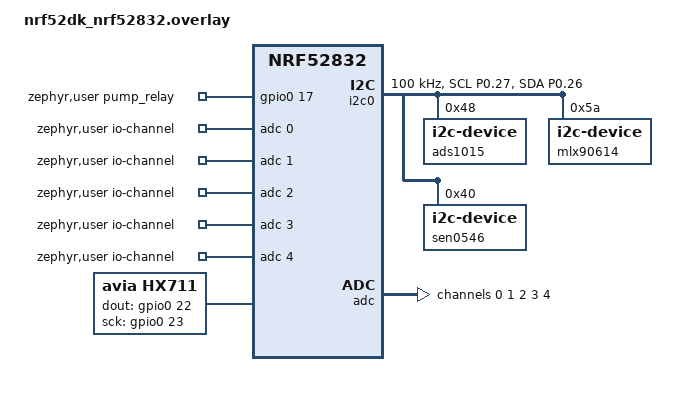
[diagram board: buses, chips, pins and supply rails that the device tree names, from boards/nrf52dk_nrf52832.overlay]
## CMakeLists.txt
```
cmake_minimum_required(VERSION 3.20.0)
set(ZEPHYR_EXTRA_MODULES "${CMAKE_SOURCE_DIR}/modules/HX711")
find_package(Zephyr REQUIRED HINTS $ENV{ZEPHYR_BASE})



project(sensor_node)



target_sources(app PRIVATE
  src/main.c
  src/drv_ads1015.c
  src/drv_mlx90614.c
  src/drv_analog.c
  src/ble_util.c
  src/drv_sen0546.c
  src/drv_load_point.c
)
```

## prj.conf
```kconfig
# Logging
CONFIG_LOG=y
CONFIG_LOG_MODE_IMMEDIATE=y
CONFIG_LOG_DEFAULT_LEVEL=3

# Timers/work
CONFIG_SYSTEM_WORKQUEUE_STACK_SIZE=2048

# Buses and IO
CONFIG_I2C=y
CONFIG_SPI=y
CONFIG_ADC=y
CONFIG_GPIO=y

# Console (RTT or UART ok)
CONFIG_CONSOLE=y
# CONFIG_USE_SEGGER_RTT=y
# CONFIG_RTT_CONSOLE=y
CONFIG_CBPRINTF_COMPLETE=y
CONFIG_CBPRINTF_FP_SUPPORT=y
CONFIG_UART_CONSOLE=y
CONFIG_SERIAL=y

# ---------- Bluetooth (Peripheral) ----------
CONFIG_BT=y
CONFIG_BT_PERIPHERAL=y
CONFIG_BT_OBSERVER=n
CONFIG_BT_CENTRAL=n
# CONFIG_BT_MAX_CONN=1

CONFIG_BT_DEVICE_NAME="LysimeterNode01"
CONFIG_BT_DEVICE_NAME_DYNAMIC=n
CONFIG_BT_RX_STACK_SIZE=2048
# We only act as a GATT server; no client needed
CONFIG_BT_GATT_CLIENT=n

# ATT / GATT settings
CONFIG_BT_ATT_PREPARE_COUNT=0

CONFIG_SENSOR=y
CONFIG_HX711=y


# Floating Point Unit
CONFIG_FPU=y

# Bluetooth LE
CONFIG_BT=y
CONFIG_BT_PERIPHERAL=y
CONFIG_BT_DEVICE_NAME="NodeA"
CONFIG_BT_LBS=y
CONFIG_BT_GATT_CLIENT=y

# STEP 5 - Configure your preferred connection parameters
CONFIG_BT_PERIPHERAL_PREF_MIN_INT=800
CONFIG_BT_PERIPHERAL_PREF_MAX_INT=800
CONFIG_BT_PERIPHERAL_PREF_LATENCY=0
CONFIG_BT_PERIPHERAL_PREF_TIMEOUT=400
CONFIG_BT_GAP_AUTO_UPDATE_CONN_PARAMS=y

# STEP 8.2 - Enable PHY updates.
CONFIG_BT_USER_PHY_UPDATE=y

# STEP 12 - Update Data Length and MTU
CONFIG_BT_USER_DATA_LEN_UPDATE=y
CONFIG_BT_CTLR_DATA_LENGTH_MAX=251
CONFIG_BT_BUF_ACL_RX_SIZE=251
CONFIG_BT_BUF_ACL_TX_SIZE=251
CONFIG_BT_L2CAP_TX_MTU=247

# Increase stack size for the main thread, System Workqueue, BT RX thread and TX buf count
CONFIG_SYSTEM_WORKQUEUE_STACK_SIZE=2048
CONFIG_BT_RX_STACK_SIZE=2048
CONFIG_BT_BUF_CMD_TX_COUNT=2

# CONFIG_SHELL=y
# CONFIG_SHELL_BACKEND_SERIAL=y
# CONFIG_I2C_SHELL=y
# # hx711 driver configuration
# CONFIG_HX711_ENABLE_MEDIAN_FILTER=y
# CONFIG_HX711_MEDIAN_FILTER_WINDOW_SIZE=3
# CONFIG_HX711_ENABLE_EMA_FILTER=y
# CONFIG_HX711_EMA_FILTER_ALPHA_FACTOR=50
```

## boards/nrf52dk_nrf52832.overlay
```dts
/* boards/<your_board>.overlay */


&pinctrl {
	i2c0_default: i2c0_default {
		group1 {
			psels = <NRF_PSEL(TWIM_SCL, 0, 27)>,
				<NRF_PSEL(TWIM_SDA, 0, 26)>;
                bias-pull-up;

		};
	};

	i2c0_sleep: i2c0_sleep {
		group1 {
			psels = <NRF_PSEL(TWIM_SCL, 0, 27)>,
				<NRF_PSEL(TWIM_SDA, 0, 26)>;
			low-power-enable;
		};
	};
};


&i2c0 {
	status = "okay";
    compatible = "nordic,nrf-twim";
	pinctrl-0 = <&i2c0_default>;
	pinctrl-1 = <&i2c0_sleep>;
	pinctrl-names = "default", "sleep";
   

	ads1015: ads1015@48 {
		compatible = "i2c-device";
		status = "okay";
		reg = <0x48>;
	};

	mlx90614: mlx90614@5a {
		compatible = "i2c-device";
		status = "okay";
		reg = <0x5a>;
	};

	sen0546: sen0546@40 {
		compatible = "i2c-device";
		status = "okay";
		reg = <0x40>;
	};
    clock-frequency = <I2C_BITRATE_STANDARD>;
};


 / {
	zephyr,user {
		io-channels = <&adc 0>, <&adc 1>, <&adc 2>, <&adc 3>, <&adc 4>;
		//pump_relay_gpios = <&gpio0 17 GPIO_ACTIVE_LOW>; for pcb
		pump_relay_gpios = <&gpio0 17 GPIO_ACTIVE_HIGH>;
		
	};

	hx711: hx711 {
		compatible = "avia,hx711";
		status = "okay";
		label = "HX711";
		dout-gpios = <&gpio0 22 (GPIO_ACTIVE_HIGH | GPIO_PULL_UP)>;
		sck-gpios  = <&gpio0 23 GPIO_ACTIVE_HIGH>;
	};
};

&adc {
	#address-cells = <1>;
	#size-cells = <0>;
	status = "okay";

	channel@0 {
		// par sensor
		// add shunt resistor
		reg = <0>;
		zephyr,gain = "ADC_GAIN_1_6";
		zephyr,reference = "ADC_REF_INTERNAL";
		zephyr,acquisition-time = <ADC_ACQ_TIME_DEFAULT>;
		zephyr,input-positive = <NRF_SAADC_AIN1>; /* nRF52832: P0.03 */
		zephyr,resolution = <12>;
	};

	channel@1 {
		// wind tmp
		// voltage divider
		// up to 3.3v input with voltage divider
		reg = <1>;
		zephyr,gain = "ADC_GAIN_1_6";
		zephyr,reference = "ADC_REF_INTERNAL";
		zephyr,acquisition-time = <ADC_ACQ_TIME_DEFAULT>;
		zephyr,input-positive = <NRF_SAADC_AIN2>; /* nRF52832: P0.04 */
		zephyr,resolution = <12>;
	};

	// channel@2 {
	// 	// not used for now - OUT pin wind sensor
	// 	reg = <2>;
	// 	zephyr,gain = "ADC_GAIN_1_6";
	// 	zephyr,reference = "ADC_REF_INTERNAL";
	// 	zephyr,acquisition-time = <ADC_ACQ_TIME_DEFAULT>;
	// 	zephyr,input-positive = <NRF_SAADC_AIN4>; /* nRF52832: P0.28 */
	// 	zephyr,resolution = <12>;
	// };

	channel@2 {
		// wind rv
		// voltage divider
		reg = <2>;
		zephyr,gain = "ADC_GAIN_1_6";
		zephyr,reference = "ADC_REF_INTERNAL";
		zephyr,acquisition-time = <ADC_ACQ_TIME_DEFAULT>;
		zephyr,input-positive = <NRF_SAADC_AIN5>; /* nRF52832: P0.29 */
		zephyr,resolution = <12>;
	};

	channel@3 {
		//root temp
		reg = <3>;
		zephyr,gain = "ADC_GAIN_1_6";
		zephyr,reference = "ADC_REF_INTERNAL";
		zephyr,acquisition-time = <ADC_ACQ_TIME_DEFAULT>;
		zephyr,input-positive = <NRF_SAADC_AIN6>; /* nRF52832: P0.30 */
		zephyr,resolution = <12>;
	};

	channel@4 {
		// pyrg-thermistor
		reg = <4>;
		zephyr,gain = "ADC_GAIN_1_6";
		zephyr,reference = "ADC_REF_INTERNAL";
		zephyr,acquisition-time = <ADC_ACQ_TIME_DEFAULT>;
		zephyr,input-positive = <NRF_SAADC_AIN7>; /* nRF52832: P0.31 */
		zephyr,resolution = <12>;
	};
};
&pwm0_default {
	group1 {
		psels = <NRF_PSEL(PWM_OUT0, 0, 17)>;
		nordic,invert;
	};
};
```

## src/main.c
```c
#include <zephyr/kernel.h>
#include <zephyr/logging/log.h>
#include <zephyr/drivers/gpio.h>
#include <zephyr/drivers/i2c.h>

#include "drv_mlx90614.h"
#include "drv_analog.h"
#include "ble_util.h"
#include "drv_sen0546.h"
#include "drv_ads1015.h"
#include "drv_load_point.h"
#include <math.h>


LOG_MODULE_REGISTER(main_local, LOG_LEVEL_INF);


static struct mlx90614_sample g_mlx;
static struct sen0546_sample g_sen;
static struct pyrgeometer_ADS_sample g_pyrgeo;
static struct pyranometer_ADS_sample g_pyrano;
static struct soil_sample    g_soil;
static struct wind_sample    g_wind;
static struct par_sample   g_par;
static struct load_sample g_load;

static const char NODE_NAME[NODE_NAME_LENGTH] = "nodeA";


static const struct device *const i2c0 = DEVICE_DT_GET(DT_NODELABEL(i2c0));

// i2c detection debug function
static int i2c_scan_log(const struct device *i2c)
{
    if (!device_is_ready(i2c)) {
        LOG_INF("I2C device not ready");
        return -ENODEV;
    }

    int found = 0;

    for (uint8_t addr = 0x03; addr <= 0x77; addr++) {
        /* probe: 0-byte write */
        int err = i2c_write(i2c, NULL, 0, addr);
        if (err == 0) {
            LOG_INF("I2C ACK at 0x%02X", addr);
            found++;
        }
        k_sleep(K_MSEC(2));
    }

    LOG_INF("I2C scan done, found %d device(s)", found);
    return found;
}

// BLE FUNCTIONS/HELPERS
#define S16_INVALID ((int16_t)INT16_MIN)

static inline int16_t s16_q(float x, float scale)
{
    if (!isfinite(x)){
        return S16_INVALID;
    }

    float v = x * scale;
    if (v >  32767.0f) v =  32767.0f;
    if (v < -32768.0f) v = -32768.0f;
    return (int16_t)(v >= 0 ? (v + 0.5f) : (v - 0.5f));
}


static inline void fill_node_name(char out[NODE_NAME_LENGTH])
{
    memset(out, 0, NODE_NAME_LENGTH);
    memcpy(out, NODE_NAME, strnlen(NODE_NAME, NODE_NAME_LENGTH));
}

// Build BLE Payload
static void build_payload(struct sensor_payload_v1 *pl)
{
    memset(pl, 0, sizeof(*pl));

    // HEADER GENERAL INFO
    uint32_t epoch_s = 0;
    uint16_t epoch_ms = 0;
    time_now_epoch(&epoch_s, &epoch_ms);

    pl->ver = 1; // payload version is 1 incase we change it down the line - for parsing
    pl->uptime_ms= (uint32_t)k_uptime_get();
    pl->epoch_s = epoch_s;
    pl->epoch_ms = epoch_ms;
    fill_node_name(pl->node_name);

    // data
    pl->mlx_obj_c = s16_q(g_mlx.obj_c, 100.0f);
    pl->mlx_amb_c = s16_q(g_mlx.amb_c, 100.0f);

    pl->sen_temp_c = s16_q(g_sen.temp_c, 100.0f);
    pl->sen_rh     = s16_q(g_sen.rh, 100.0f);

    //pl->soil_v      = g_soil.voltage;
    //pl->soil_r_ohm  = g_soil.resistance;
    pl->soil_temp_c = s16_q(g_soil.temp_c, 100.0f);

    //pl->wind_v      = g_wind.voltage;
    //pl->wind_temp_c = s16_q(g_wind.temp_in_c, 100.0f);
    pl->wind_mph    = s16_q(g_wind.mph, 100.0f);

    //pl->par_shunt_v   = g_par.voltage;
   // pl->par_current_mA= g_par.current_mA;
    pl->par_ppfd      = (int32_t)lroundf(g_par.ppfd * 100.0f);

    pl->shortwave_w_m2 = s16_q(g_pyrano.shortwave_radiation, 100.0f);

    //pl->thermopile_mv_diff = g_pyrgeo.thermopile_signal_mv_diff;
    pl->pyr_temp_k         = s16_q(g_pyrgeo.temperature_in_K, 100.0f);
    pl->longwave_w_m2      = s16_q(g_pyrgeo.longwave_radiation, 100.0f);

  
    pl->weight_integer    = g_load.integer;
    pl-> weight_fractional = g_load.fractional;
    
}

// BLE Code was pulled from Nordic Academy Example
struct bt_conn *my_conn = NULL;
static struct k_work adv_work;

static const struct bt_le_adv_param *adv_param = BT_LE_ADV_PARAM(
    (BT_LE_ADV_OPT_CONN |
     BT_LE_ADV_OPT_USE_IDENTITY),
    BT_GAP_ADV_FAST_INT_MIN_1,
    BT_GAP_ADV_FAST_INT_MAX_1,
    NULL);


/* STEP 11.2 - Create variable that holds callback for MTU negotiation */
static struct bt_gatt_exchange_params exchange_params;

/* STEP 13.4 - Forward declaration of exchange_func(): */
static void exchange_func(struct bt_conn *conn, uint8_t att_err, struct bt_gatt_exchange_params *params);

#define DEVICE_NAME CONFIG_BT_DEVICE_NAME
#define DEVICE_NAME_LEN (sizeof(DEVICE_NAME) - 1)

static const struct bt_data ad[] = {
    BT_DATA_BYTES(BT_DATA_FLAGS, (BT_LE_AD_GENERAL | BT_LE_AD_NO_BREDR)),
    BT_DATA_BYTES(BT_DATA_UUID128_ALL, BT_UUID_LYS_SERVICE_VAL),
};

static const struct bt_data sd[] = {
    BT_DATA(BT_DATA_NAME_COMPLETE, CONFIG_BT_DEVICE_NAME,
            sizeof(CONFIG_BT_DEVICE_NAME) - 1),
};


static void adv_work_handler(struct k_work *work)
{
    int err = bt_le_adv_start(adv_param, ad, ARRAY_SIZE(ad), sd, ARRAY_SIZE(sd));

    if (err) {
        LOG_ERR("Advertising failed to start (err %d)", err);
        return;
    }

    LOG_INF("Advertising successfully started");
}

static void advertising_start(void)
{
    k_work_submit(&adv_work);
}

/* STEP 7.1 - Define the function to update the connection's PHY */
static void update_phy(struct bt_conn *conn)
{
    int err;
    const struct bt_conn_le_phy_param preferred_phy = {
        .options = BT_CONN_LE_PHY_OPT_NONE,
        .pref_rx_phy = BT_GAP_LE_PHY_2M,
        .pref_tx_phy = BT_GAP_LE_PHY_2M,
    };
    err = bt_conn_le_phy_update(conn, &preferred_phy);
    if (err) {
        LOG_ERR("bt_conn_le_phy_update() returned %d", err);
    }
}

/* STEP 10 - Define the function to update the connection's data length */
static void update_data_length(struct bt_conn *conn)
{
    int err;
    struct bt_conn_le_data_len_param my_data_len = {
        .tx_max_len = BT_GAP_DATA_LEN_MAX,
        .tx_max_time = BT_GAP_DATA_TIME_MAX,
    };
    err = bt_conn_le_data_len_update(my_conn, &my_data_len);
    if (err) {
        LOG_ERR("data_len_update failed (err %d)", err);
    }
}

/* STEP 11.1 - Define the function to update the connection's MTU */
static void update_mtu(struct bt_conn *conn)
{
    int err;
    exchange_params.func = exchange_func;

    err = bt_gatt_exchange_mtu(conn, &exchange_params);
    if (err) {
        LOG_ERR("bt_gatt_exchange_mtu failed (err %d)", err);
    }
}

K_THREAD_STACK_DEFINE(sensor_wq_stack, 4096);
static struct k_work_q sensor_wq;

static struct k_work_delayable sensor_work;
static struct k_work sensor_start_work;
static struct k_work sensor_stop_work;

static void sensor_start_handler(struct k_work *work)
{
    ARG_UNUSED(work);
    LOG_INF("Sensor loop START");
    k_work_schedule_for_queue(&sensor_wq, &sensor_work, K_NO_WAIT);
}

static void sensor_stop_handler(struct k_work *work)
{
    ARG_UNUSED(work);
    LOG_INF("Sensor loop STOP");
    k_work_cancel_delayable(&sensor_work);
}

// get coefficient from certificates
// taken from SL-610-SS-1437 device
// different for each sensor

#define K1 8.658f // w/m2 per mV
#define K2 1.210f // unitless

#define STEPHAN_CONSTANT 5.6704e-8f

static struct sensor_payload_v1 pl;

// Print Debug statement For Sensor Outputs 
static void debug_sensors(void)
{
    LOG_INF("MLX90614: obj=%.2f C, amb=%.2f C",
            (double)g_mlx.obj_c,
        (double)g_mlx.amb_c);

    LOG_INF("SEN0546: T=%.2f C, RH=%.2f%%",
            (double)g_sen.temp_c,
            (double)g_sen.rh);

    LOG_INF("Soil: V=%.3f V, R=%.0f ohm, T=%.2f C",
        (double)g_soil.voltage,
        (double)g_soil.resistance,
        (double)g_soil.temp_c);

    LOG_INF("Wind: V=%.3f V (RV), Temp (C)=%.2f, MPH=%.2f",
        (double)g_wind.voltage,
        (double)g_wind.temp_in_c,
        (double)g_wind.mph);
    
    LOG_INF("PAR: V=%.3f V (shunt), I=%.2f mA, PPFD=%.2f µmol m^-2 s^-1",
            (double)g_par.voltage,  (double)g_par.current_mA,  (double)g_par.ppfd);

    LOG_INF("ADS1O15 CH0&1->SP-610: SW=%.6f W/m^2",
            (double)g_pyrano.shortwave_radiation);

    LOG_INF("SL-160 PYR: Temp in K=%.2f", (double)g_pyrgeo.temperature_in_K);

    LOG_INF("ADS1O15 CH2&3->SL-610 Thermopile Signal: %.6f mV",
            (double)g_pyrgeo.thermopile_signal_mv_diff);

    LOG_INF("SL-160 PYR: Longwave radiation W/m2=%.2f", (double)g_pyrgeo.longwave_radiation);

    LOG_INF("Weight: %d.%02d grams",g_load.integer, g_load.fractional);

}

/* Main periodic work: read sensors and send BLE packet */
static void sensor_work_handler(struct k_work *work)
{
    ARG_UNUSED(work);
    int err;

    if (tx_subscribed()) {

        //Read MLX90614 (IR temp) 
        err = mlx90614_read(&g_mlx);
        if (err && err != -EAGAIN) {
            LOG_WRN("MLX90614 read err %d", err);
        }
       
        // Read SEN0546 TEMP/HUMIDITY 
        err = sen0546_read(&g_sen);
        if (err && err != -EAGAIN) {
            LOG_WRN("SEN0546 read err %d", err);
        }

        //Read soil thermistor (root temp)
        err = soil_read(&g_soil);
        if (err && err != -EAGAIN) {
            LOG_WRN("Soil read err %d", err);
        }

        //Read wind sensor - TEMP A BIT OFF BUT MPH GOOD NEED 2x VOLTAGE DIVIDER
        err = wind_read(&g_wind);
        if (err && err != -EAGAIN) {
            LOG_WRN("Wind read err %d", err);
        }

        //  Read PAR (SQ-214) - SHUNT RESISTOR + POWER 7V
        err = par_read(&g_par);
        if (err && err != -EAGAIN) {
            LOG_WRN("PAR read err %d", err);
        }
        
        // ADS1015 MEASUREMENTS
        //GET SP-610 DATA (SHORTWAVE RADIATION)
        get_sp610_pyranometer(&g_pyrano);
        

        // sl-610 THERMISTOR READING - RATIOMETRIC MEASUREMENT WITH EXCITATION
        err = sl160_thermistor_read(&g_pyrgeo);
        if (err && err != -EAGAIN) {
            LOG_WRN("SL-610 read err %d", err);
        }

        // GET SL-610 THERMOPILE DATA 
        get_sl610_thermopile(&g_pyrgeo);
        

        float calculate_longwave = K1 * g_pyrgeo.thermopile_signal_mv_diff + (K2 *  STEPHAN_CONSTANT * (float)pow(g_pyrgeo.temperature_in_K, 4));
        if isfinite(calculate_longwave)
        {
             g_pyrgeo.longwave_radiation = calculate_longwave;
        } else {
            g_pyrgeo.longwave_radiation = NAN;
        }

        // Get data from load point
        measure(&g_load);

        // print sensor values for debug
        debug_sensors();
       
        // if subscribed send with ble
        // map payload
        build_payload(&pl);

        // send ble notification
        lys_ble_notify(my_conn, &pl);
    }

   //reschedule
    k_work_schedule(&sensor_work, K_SECONDS(get_node_period()));
}




static void sensor_wq_init(void)
{
    k_work_queue_start(&sensor_wq,
                       sensor_wq_stack,
                       K_THREAD_STACK_SIZEOF(sensor_wq_stack),
                       2,
                       NULL);

    k_work_init_delayable(&sensor_work, sensor_work_handler);
    k_work_init(&sensor_start_work, sensor_start_handler);
    k_work_init(&sensor_stop_work, sensor_stop_handler);
}



/* Callbacks */
void on_connected(struct bt_conn *conn, uint8_t err)
{
	if (err) {
		LOG_ERR("Connection error %d", err);
		return;
	}
	LOG_INF("Connected");
	my_conn = bt_conn_ref(conn);
    k_sleep(K_MSEC(100));

	/* STEP 1.1 - Declare a structure to store the connection parameters */
	struct bt_conn_info info;
	err = bt_conn_get_info(conn, &info);
	if (err) {
		LOG_ERR("bt_conn_get_info() returned %d", err);
		return;
	}
	/* STEP 1.2 - Add the connection parameters to your log */
	double connection_interval = BT_GAP_US_TO_CONN_INTERVAL(info.le.interval_us) *1.25; // in ms
	uint16_t supervision_timeout = info.le.timeout*10; // in ms
	LOG_INF("Connection parameters: interval %.2f ms, latency %d intervals, timeout %d ms", connection_interval, info.le.latency, supervision_timeout);
	/* STEP 7.2 - Update the PHY mode */
	update_phy(my_conn);
	/* STEP 13.5 - Update the data length and MTU */
	update_data_length(my_conn);
	update_mtu(my_conn);

    // start collecting data
    k_work_submit_to_queue(&sensor_wq, &sensor_start_work);
}

void on_disconnected(struct bt_conn *conn, uint8_t reason)
{
    k_work_cancel_delayable(&sensor_work);
    LOG_INF("Disconnected. Reason %d", reason);
    bt_conn_unref(my_conn);
    my_conn = NULL;

    //stop collecting data
    k_work_submit_to_queue(&sensor_wq, &sensor_stop_work);
}

void on_recycled(void)
{
    advertising_start();
}

/* STEP 4.2 - Add the callback for connection parameter updates */
void on_le_param_updated(struct bt_conn *conn, uint16_t interval, uint16_t latency, uint16_t timeout)
{
    double connection_interval = interval*1.25;         // in ms
    uint16_t supervision_timeout = timeout*10;          // in ms
    LOG_INF("Connection parameters updated: interval %.2f ms, latency %d intervals, timeout %d ms", connection_interval, latency, supervision_timeout);
}
/* STEP 8.1 - Write a callback function to inform about updates in the PHY */
void on_le_phy_updated(struct bt_conn *conn, struct bt_conn_le_phy_info *param)
{
    // PHY Updated
    if (param->tx_phy == BT_CONN_LE_TX_POWER_PHY_1M) {
        LOG_INF("PHY updated. New PHY: 1M");
    }
    else if (param->tx_phy == BT_CONN_LE_TX_POWER_PHY_2M) {
        LOG_INF("PHY updated. New PHY: 2M");
    }
    else if (param->tx_phy == BT_CONN_LE_TX_POWER_PHY_CODED_S8) {
        LOG_INF("PHY updated. New PHY: Long Range");
    }
}

/* STEP 13.1 - Write a callback function to inform about updates in data length */
void on_le_data_len_updated(struct bt_conn *conn, struct bt_conn_le_data_len_info *info)
{
    uint16_t tx_len     = info->tx_max_len;
    uint16_t tx_time    = info->tx_max_time;
    uint16_t rx_len     = info->rx_max_len;
    uint16_t rx_time    = info->rx_max_time;
    LOG_INF("Data length updated. Length %d/%d bytes, time %d/%d us", tx_len, rx_len, tx_time, rx_time);
}

struct bt_conn_cb connection_callbacks = {
    .connected          = on_connected,
    .disconnected       = on_disconnected,
    .recycled           = on_recycled,
    /* STEP 4.1 - Add the callback for connection parameter updates */
    .le_param_updated   = on_le_param_updated,
    /* STEP 8.3 - Add the callback for PHY mode updates */
    .le_phy_updated     = on_le_phy_updated,
    /* STEP 13.2 - Add the callback for data length updates */
    .le_data_len_updated    = on_le_data_len_updated,
};

/* STEP 13.3 - Implement callback function for MTU exchange */
static void exchange_func(struct bt_conn *conn, uint8_t att_err,
              struct bt_gatt_exchange_params *params)
{
    LOG_INF("MTU exchange %s", att_err == 0 ? "successful" : "failed");
    if (!att_err) {
        uint16_t payload_mtu = bt_gatt_get_mtu(conn) - 3;   // 3 bytes used for Attribute headers.
        LOG_INF("New MTU: %d bytes", payload_mtu);
    }
}


int main(void)

{
    LOG_INF("Sensor node starting (with BLE)");

    /* Init sensors */
    int err;

    sensor_wq_init();

    // initialize sensors

    err = sen0546_init();
    if (err) {
        LOG_ERR("SEN0566 init failed (%d)", err);
    }

    err = mlx90614_init();
    if (err) {
        LOG_ERR("MLX90614 init failed (%d)", err);
    }

    err = ADS1015_init();
    if (err) {
        LOG_ERR("ADS1015 init failed (%d)", err);
    }

    err = analog_init();
    if (err) {
        LOG_ERR("Analog init failed (%d)", err);
    }

    // initialize load point (scale)
    err = hx711_probe_init();
    if (err) {
        LOG_ERR("HX711 Load point init failed (%d)", err);
    }

    // initialize relay gpio
    pump_init();
    pump_schedule_init();
    calibrate();

    //init ble
    err = bt_enable(NULL);
    if (err) {
        LOG_ERR("Bluetooth init failed (err %d)", err);
        return err;
    }

    bt_conn_cb_register(&connection_callbacks);

    LOG_INF("Bluetooth initialized\n");
	k_work_init(&adv_work, adv_work_handler);
	advertising_start();

    while (1) {
        k_sleep(K_SECONDS(1));
    }
}
```

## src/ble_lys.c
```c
#include "ble_lys.h"

#include <zephyr/kernel.h>
#include <zephyr/logging/log.h>
#include <zephyr/bluetooth/bluetooth.h>
#include <zephyr/bluetooth/gap.h>
#include <zephyr/bluetooth/uuid.h>
#include <zephyr/bluetooth/conn.h>
#include <zephyr/bluetooth/uuid.h>
#include <zephyr/bluetooth/gatt.h>

LOG_MODULE_REGISTER(ble_lys, LOG_LEVEL_INF);
static bool notify_enabled;
/* UUID objects */
struct bt_uuid_128 bt_uuid_lys_service = BT_UUID_INIT_128(BT_UUID_LYS_SERVICE_VAL);
struct bt_uuid_128 bt_uuid_lys_char    = BT_UUID_INIT_128(BT_UUID_LYS_CHAR_VAL);


/* Current payload value stored in the GATT database */
static struct sensor_payload_v1 g_cur_payload;

// static ssize_t lys_read(struct bt_conn *conn,
//                         const struct bt_gatt_attr *attr,
//                         void *buf, uint16_t len, uint16_t offset)
// {
//     const struct lys_payload *p = attr->user_data;
//     return bt_gatt_attr_read(conn, attr, buf, len, offset, p, sizeof(*p));
// }

/* CCC (Client Characteristic Configuration) descriptor */
static void ccc_cfg_changed(const struct bt_gatt_attr *attr, uint16_t value)
{
    ARG_UNUSED(attr);
    notify_enabled = (value == BT_GATT_CCC_NOTIFY);
    if (value == BT_GATT_CCC_NOTIFY) {
        LOG_INF("Lysimeter notifications enabled");
    } else {
        LOG_INF("Lysimeter notifications disabled");
    }
}

//tx_subscribed()
bool tx_subscribed(void)
{
    return notify_enabled;
}

/* GATT service definition */
BT_GATT_SERVICE_DEFINE(lys_svc,
    BT_GATT_PRIMARY_SERVICE(&bt_uuid_lys_service),
    BT_GATT_CHARACTERISTIC(&bt_uuid_lys_char.uuid,
                           BT_GATT_CHRC_READ | BT_GATT_CHRC_NOTIFY,
                           BT_GATT_PERM_READ,
                           NULL, NULL, &g_cur_payload),
    BT_GATT_CCC(ccc_cfg_changed,
                BT_GATT_PERM_READ | BT_GATT_PERM_WRITE)
);

/* Connection callbacks */

int lys_ble_notify(struct bt_conn *g_conn, const struct sensor_payload_v1 *p)
{
    int err;

    g_cur_payload = *p;

    err = bt_gatt_notify(g_conn, &lys_svc.attrs[2],
                         &g_cur_payload, sizeof(g_cur_payload));
    if (err == -ENOTCONN || err == -EPIPE) {
        return 0;
    }

    if (err) {
        LOG_WRN("Notify failed (err %d)", err);
    }

    return err;
}
```

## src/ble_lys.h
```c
#pragma once

#include <zephyr/types.h>
#include <zephyr/bluetooth/bluetooth.h>
#include <zephyr/bluetooth/gap.h>
#include <zephyr/bluetooth/gatt.h>
#include <zephyr/bluetooth/uuid.h>
#include <zephyr/bluetooth/addr.h>
#include <zephyr/bluetooth/conn.h>
/* 128-bit UUIDs for the custom Lysimeter service and characteristic */
#define BT_UUID_LYS_SERVICE_VAL \
    BT_UUID_128_ENCODE(0x8f3a6c21, 0x4b72, 0x4fd1, 0x9e38, 0x3c2b7d9a51f4)

#define BT_UUID_LYS_CHAR_VAL \
    BT_UUID_128_ENCODE(0x8f3a6c22, 0x4b72, 0x4fd1, 0x9e38, 0x3c2b7d9a51f4)
    
/* Forward declarations of UUID objects */
extern struct bt_uuid_128 bt_uuid_lys_service;
extern struct bt_uuid_128 bt_uuid_lys_char;


struct __attribute__((packed)) sensor_payload_v1 {

    /* MLX90614 */
    int16_t mlx_obj_c;
    int16_t mlx_amb_c;

    /* SEN0546 */
    int16_t sen_temp_c;
    int16_t sen_rh;

    /* Soil */
    int16_t soil_temp_c;

     /* Wind */
    int16_t wind_mph;

    /* PAR */
    int32_t par_ppfd;

    /* SP-610 pyranometer */
    int16_t shortwave_w_m2;

    /* SL-610/160 pyrgeometer */
    int16_t pyr_temp_k;
    int16_t longwave_w_m2;

    // hx711
    int32_t weight_integer;
    int32_t weight_fractional;

};

bool tx_subscribed(void);
/* Update the GATT value and send notification (if connected) */
int lys_ble_notify(struct bt_conn *g_conn, const struct sensor_payload_v1 *p);
```

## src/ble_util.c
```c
#include "ble_util.h"
#include <zephyr/kernel.h>
#include <zephyr/logging/log.h>
#include <zephyr/bluetooth/bluetooth.h>
#include <zephyr/bluetooth/gap.h>
#include <zephyr/bluetooth/uuid.h>
#include <zephyr/bluetooth/conn.h>
#include <zephyr/bluetooth/uuid.h>
#include <zephyr/bluetooth/gatt.h>
#include <zephyr/drivers/gpio.h>
#include <zephyr/sys/byteorder.h>

// ble_uti.c - handles bluetooth + time logic + pump scheduling 
LOG_MODULE_REGISTER(ble_lys, LOG_LEVEL_INF);

// BLE notification flag
// true when the pi subscribes to notifications
static bool notify_enabled;

// Set to true after valid time is received from the pi
static bool time_synced = false;

// Next scheduled pump time, sent by the  pi as Unix epoch seconds
static uint32_t next_pump_epoch_s;

// Delayed work items used to turn the pump ON/OFF at scheduled times
static struct k_work_delayable pump_on_work;
static struct k_work_delayable pump_off_work;

// Pump ON duration and node sampling period - both sent by the Raspberry Pi.
static uint16_t pump_duration_s;
static uint16_t node_period_s;

// BLE UUIDs
struct bt_uuid_128 bt_uuid_lys_service = BT_UUID_INIT_128(BT_UUID_LYS_SERVICE_VAL);
struct bt_uuid_128 bt_uuid_lys_char    = BT_UUID_INIT_128(BT_UUID_LYS_CHAR_VAL);
struct bt_uuid_128 bt_uuid_lys_time   = BT_UUID_INIT_128(BT_UUID_TIME_SYNC); 

// Current sensor payload stored before notification
static struct sensor_payload_v1 g_cur_payload;

// Stores synchronized Pi time + nRF52 uptime
static struct time_values g_time;

// Called when the Raspberry Pi enables or disables BLE notifications.
static void ccc_cfg_changed(const struct bt_gatt_attr *attr, uint16_t value)
{
    ARG_UNUSED(attr);
    notify_enabled = (value == BT_GATT_CCC_NOTIFY);
    if (value == BT_GATT_CCC_NOTIFY) {
        LOG_INF("Lysimeter notifications enabled");
    } else {
        LOG_INF("Lysimeter notifications disabled");
    }
}

//Helper function used by other code to check if BLE notifications are enabled.
bool tx_subscribed(void)
{
    return notify_enabled;
}

// Save the Raspberry Pi's current Unix time.
// After this the nRF52 can estimate current epoch time using its uptime.
void time_sync_from_pi(uint32_t epoch_s, uint16_t epoch_ms)
{
    // store pi epoch time in milliseconds
    g_time.epoch0_ms  = (int64_t)epoch_s * 1000 + (int64_t)epoch_ms;
    
    // store local uptime 
    g_time.uptime0_ms = (int64_t)k_uptime_get();
    time_synced = true;
}

// Estimate current Unix time using last pi time sync plus nRF52 uptime.
bool time_now_epoch(uint32_t *out_epoch_s, uint16_t *out_epoch_ms)
{
    // only works after Pi time sync has happened
    if (!time_synced) {
        return false;
    }

    int64_t now_ms = g_time.epoch0_ms + ((int64_t)k_uptime_get() - g_time.uptime0_ms);
    if (now_ms < 0) return false;

    *out_epoch_s  = (uint32_t)(now_ms / 1000);
    *out_epoch_ms = (uint16_t)(now_ms % 1000);
    return true;
}

// schedule the pump to turn ON 
static void pump_set_next_epoch(uint32_t epoch_s)
{
    next_pump_epoch_s = epoch_s;

    uint32_t now_s; 
    uint16_t now_ms;

    if (!time_now_epoch(&now_s, &now_ms)) {
        LOG_WRN("No valid time yet; cannot arm pump");
        return;
    }

    int64_t delay_ms = ((int64_t)next_pump_epoch_s - (int64_t)now_s) * 1000 - now_ms;
    if (delay_ms < 0) delay_ms = 0;

    k_work_schedule(&pump_on_work, K_MSEC(delay_ms));
    LOG_INF("Pump armed for epoch=%u (in %lld ms)", epoch_s, delay_ms);
}


// Pi writes a 14-byte payload:
// bytes 0-3   = current epoch seconds
// bytes 4-5   = current epoch milliseconds
// bytes 6-9   = next pump start epoch seconds
// bytes 10-11 = pump duration in seconds
// bytes 12-13 = node sampling period in seconds

static ssize_t time_sync_write(struct bt_conn *conn,
                               const struct bt_gatt_attr *attr,
                               const void *buf, uint16_t len,
                               uint16_t offset, uint8_t flags)
{

    ARG_UNUSED(conn);
    ARG_UNUSED(attr);
    ARG_UNUSED(flags);

    //payload must be 14 bytes
    if (len != 14) {
        return BT_GATT_ERR(BT_ATT_ERR_INVALID_ATTRIBUTE_LEN);
    }

    // get pi payload
    const uint8_t *b = buf;
    uint32_t epoch_s     = sys_get_le32(&b[0]);
    uint16_t epoch_ms    = sys_get_le16(&b[4]);
    uint32_t next_pump_s = sys_get_le32(&b[6]);
    uint16_t duration_s  = sys_get_le16(&b[10]);
    uint16_t period_s    = sys_get_le16(&b[12]);

    next_pump_epoch_s = next_pump_s;
    pump_duration_s   = duration_s;
    node_period_s     = period_s;

    LOG_INF("Time sync received");
    LOG_INF("epoch_s=%u, epoch_ms=%u, next_pump=%u, duration=%u, period=%u",
        epoch_s,
        epoch_ms,
        next_pump_epoch_s,
        pump_duration_s,
        node_period_s);

    // save time from pi
    time_sync_from_pi(epoch_s, epoch_ms);

    // schedule next pump run
    pump_set_next_epoch(next_pump_epoch_s);

    return len;
}

//  Helper Function - Return node sampling period - sent by the pi during time sync
uint16_t get_node_period(void){
    return node_period_s;
}

//  INTIALIZE PUMP CTRL PIN
static const struct gpio_dt_spec pump =GPIO_DT_SPEC_GET(DT_PATH(zephyr_user), pump_relay_gpios);


void pump_init(void)
{
    int err;

    if (!gpio_is_ready_dt(&pump)) {
        LOG_ERR("Pump GPIO is not ready");
        return -ENODEV;
    }

    // configure pump relay as output and start OFF
    err = gpio_pin_configure_dt(&pump, GPIO_OUTPUT_INACTIVE);
    if (err) {
        LOG_ERR("Failed to configure pump GPIO: %d", err);
        return err;
    }

    LOG_INF("Pump GPIO initialized");

    return 0;
}

static void pump_on(void)  { 
    gpio_pin_set_dt(&pump, 1); 
    LOG_INF("PUMP ON");
}

static void pump_off(void) { 
    gpio_pin_set_dt(&pump, 0);
    LOG_INF("PUMP OFF"); 
}


static void pump_off_fn(struct k_work *work)
{
    pump_off();
}

// turns on pump and off and reschedules 
static void pump_on_fn(struct k_work *work)
{
    pump_on();
    // turn pump off after set duration
    k_work_schedule(&pump_off_work, K_SECONDS(pump_duration_s));
     
    // Schedule next pump in 24 hours
    next_pump_epoch_s += 86400; // sec in 24 hours 
    // next_pump_epoch_s += 60; // for debug every minute
    // add to payload; so user can set this from global hub

    uint32_t now_s; 
    uint16_t now_ms;

    if (time_now_epoch(&now_s, &now_ms)) {
        int64_t delay_ms = ((int64_t)next_pump_epoch_s - (int64_t)now_s) * 1000 - now_ms;
        if (delay_ms < 0) delay_ms = 0;
        k_work_schedule(&pump_on_work, K_MSEC(delay_ms));
        LOG_INF("Next pump scheduled for epoch=%u, in %lld ms",
                next_pump_epoch_s,
                delay_ms);
    } else {
        LOG_WRN("Time not synced; cannot reschedule next pump");
    }
}

// initialize delayed work objects for pump scheduling
void pump_schedule_init(void)
{
     k_work_init_delayable(&pump_on_work, pump_on_fn);
    k_work_init_delayable(&pump_off_work, pump_off_fn);
}

/*
 * GATT service definition.
 *
 * Includes:
 * 1. Sensor payload characteristic:
 *    - NOTIFY: Node can notify Pi with new payload
 *
 * 2. Time sync characteristic:
 *    - WRITE: Pi sends time and pump scheduling information
 */

BT_GATT_SERVICE_DEFINE(lys_svc,
    BT_GATT_PRIMARY_SERVICE(&bt_uuid_lys_service),


    // notify characteristic for sensor payload
    BT_GATT_CHARACTERISTIC(&bt_uuid_lys_char.uuid,
                           BT_GATT_CHRC_READ | BT_GATT_CHRC_NOTIFY,
                           BT_GATT_PERM_READ,
                           NULL, NULL, &g_cur_payload),

    BT_GATT_CCC(ccc_cfg_changed,
                BT_GATT_PERM_READ | BT_GATT_PERM_WRITE),
    
    BT_GATT_CUD("Sensor Payload from Node", BT_GATT_PERM_READ),

    // characteristic for pi writing time to nordic for time sync
    BT_GATT_CHARACTERISTIC(&bt_uuid_lys_time.uuid,
        BT_GATT_CHRC_WRITE | BT_GATT_CHRC_WRITE_WITHOUT_RESP,
        BT_GATT_PERM_WRITE,
        NULL,               
        time_sync_write,     
        NULL),

    BT_GATT_CUD("Time Sync", BT_GATT_PERM_READ),

  
);

// Send current sensor payload using BLE notification
int lys_ble_notify(struct bt_conn *g_conn, const struct sensor_payload_v1 *p)
{
    int err;

    if (!g_conn) {
        return -ENOTCONN;
    }

     // Do not send notification if Pi has not subscribed
    if (!notify_enabled) {
        return 0;
    }

    g_cur_payload = *p;

    err = bt_gatt_notify(g_conn, 
                        &lys_svc.attrs[2],
                        &g_cur_payload, 
                        sizeof(g_cur_payload));
                    

    if (err == -ENOTCONN || err == -EPIPE) {
        return 0;
    }

    if (err) {
        LOG_WRN("Notify failed (err %d)", err);
    }

    return err;
}
```

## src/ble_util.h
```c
#pragma once

#include <zephyr/types.h>
#include <zephyr/bluetooth/bluetooth.h>
#include <zephyr/bluetooth/gap.h>
#include <zephyr/bluetooth/gatt.h>
#include <zephyr/bluetooth/uuid.h>
#include <zephyr/bluetooth/addr.h>
#include <zephyr/bluetooth/conn.h>

#define NODE_NAME_LENGTH 8
#define BT_UUID_LYS_SERVICE_VAL \
    BT_UUID_128_ENCODE(0x8f3a6c21, 0x4b72, 0x4fd1, 0x9e38, 0x3c2b7d9a51f4)

#define BT_UUID_LYS_CHAR_VAL \
    BT_UUID_128_ENCODE(0x8f3a6c22, 0x4b72, 0x4fd1, 0x9e38, 0x3c2b7d9a51f4)

#define BT_UUID_TIME_SYNC \
    BT_UUID_128_ENCODE(0x12345679,0x1234,0x1234,0x1234,0x1234567890ab)

extern struct bt_uuid_128 bt_uuid_lys_service;
extern struct bt_uuid_128 bt_uuid_lys_char;
extern struct bt_uuid_128 bt_uuid_lys_time;

struct __attribute__((packed)) sensor_payload_v1 {

    uint8_t ver;
    uint32_t uptime_ms;   // k_uptime_get()
    uint32_t epoch_s;     
    uint16_t epoch_ms;   
    char     node_name[NODE_NAME_LENGTH];

    // MLX90614
    int16_t mlx_obj_c;
    int16_t mlx_amb_c;

    // SEN0546 
    int16_t sen_temp_c;
    int16_t sen_rh;

    // Soil 
    int16_t soil_temp_c;

    // Wind 
    int16_t wind_mph;

    // PAR 
    int32_t par_ppfd;

    // SP-610 pyranometer 
    int16_t shortwave_w_m2;

    // SL-610/160 pyrgeometer 
    int16_t pyr_temp_k;
    int16_t longwave_w_m2;

    // hx711
    int32_t weight_integer;
    int32_t weight_fractional;

};


struct time_values {
    int64_t epoch0_ms;    // epoch time at sync (ms)
    int64_t uptime0_ms;   // k_uptime_get() at sync (ms)
};

bool tx_subscribed(void);
int lys_ble_notify(struct bt_conn *g_conn, const struct sensor_payload_v1 *p);
bool time_now_epoch(uint32_t *out_epoch_s, uint16_t *out_epoch_ms);
void time_sync_from_pi(uint32_t epoch_s, uint16_t epoch_ms);
void pump_init(void);
void pump_schedule_init(void);
uint16_t get_node_period(void);
```

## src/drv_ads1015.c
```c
#include "drv_ads1015.h"
#include <zephyr/drivers/i2c.h>
#include <zephyr/logging/log.h>
#include <stdlib.h>
#define ADS_NODE DT_NODELABEL(ads1015)
static const struct i2c_dt_spec ads_i2c = I2C_DT_SPEC_GET(ADS_NODE);
// ADC with pyrgeometer and pyranometer connected
LOG_MODULE_REGISTER(ads1015, LOG_LEVEL_INF);
// holds all settings
static ADS1015 ads1015_module;

uint8_t ads1015_txBuff[3];
uint8_t ads1015_rxBuff[2];

static void ADS1015_WriteRegister(uint8_t reg, uint16_t value);
static int16_t ADS1015_ReadRegister(uint8_t reg);
static float get_lsb_multiplier(adsGain_t gain);
//static uint32_t get_delay_usec(adsSPS_t sps);
static uint32_t get_delay_msec(adsSPS_t sps);
static uint16_t get_adc_config();

void ADS1015_WriteRegister (uint8_t reg, uint16_t value){
//	uint8_t data[3];
	ads1015_txBuff[0] = reg;
	ads1015_txBuff[1] = (value >> 8);
	ads1015_txBuff[2] = (value & 0xFF);

  i2c_write_dt(&ads_i2c, ads1015_txBuff,3);
}

int16_t ADS1015_ReadRegister(uint8_t reg){
//	uint8_t data[2];
	ads1015_txBuff[0] = reg;

  i2c_write_dt(&ads_i2c,ads1015_txBuff,1);
  i2c_read_dt(&ads_i2c,ads1015_rxBuff,2);

	return (ads1015_rxBuff[0] << 8) | ads1015_rxBuff[1];
}

// for ADS1015 DIFFERENT FOR ADS115 which we will be using in the pcb
float get_lsb_multiplier(adsGain_t gain){
	float lsb_multiplier=0;
  switch (gain) {
  case (GAIN_TWOTHIRDS):
    lsb_multiplier = 3;
    break;
  case (GAIN_ONE):
    lsb_multiplier = 2;
    break;
  case (GAIN_TWO):
    lsb_multiplier = 1;
    break;
  case (GAIN_FOUR):
    lsb_multiplier = 0.5;
    break;
  case (GAIN_EIGHT):
    lsb_multiplier = 0.25;
    break;
  case (GAIN_SIXTEEN):
    lsb_multiplier = 0.125;
    break;
	default:
    lsb_multiplier = 0.0625;
    break;
  }
	return lsb_multiplier;
}

/*
uint32_t get_delay_usec(adsSPS_t sps){
	uint32_t delay = 0;
  switch (sps) {
  case (SPS_8):
    delay = 125000;
    break;
  case (SPS_16):
    delay = 62500;
    break;
  case (SPS_32):
    delay = 31250;
    break;
  case (SPS_64):
    delay = 15625;
    break;
  case (SPS_128):
    delay = 7825;
    break;
  case (SPS_250):
    delay = 4000;
    break;
  case (SPS_475):
    delay = 2150;
    break;
  case (SPS_860):
    delay = 1200;
    break;
	default:
    delay = 7825;
    break;
  }
	return delay;
}
*/
uint32_t get_delay_msec(adsSPS_t sps){
	uint32_t delay = 0;
  switch (sps) {
  case (SPS_8):
    delay = 125;
    break;
  case (SPS_16):
    delay = 63;
    break;
  case (SPS_32):
    delay = 32;
    break;
  case (SPS_64):
    delay = 16;
    break;
  case (SPS_128):
    delay = 8;
    break;
  case (SPS_250):
    delay = 4;
    break;
  case (SPS_475):
    delay = 3;
    break;
  case (SPS_860):
    delay = 2;
    break;
	default:
    delay = 8;
    break;
  }
	return delay;
}

uint16_t get_adc_config(){
	ads1015_module.m_conversionDelay = get_delay_msec(ads1015_module.m_samplingRate);
	ads1015_module.m_lsbMultiplier = get_lsb_multiplier(ads1015_module.m_gain)/1000;

  return
      ADS1015_REG_CONFIG_CQUE_NONE |    // Disable the comparator (default val)
      ADS1015_REG_CONFIG_CLAT_NONLAT |  // Non-latching (default val)
      ADS1015_REG_CONFIG_CPOL_ACTVLOW | // Alert/Rdy active low   (default val)
      ads1015_module.m_compMode |							// Comparator Mode
      ads1015_module.m_samplingRate |					// Sampling Rate
      ads1015_module.m_gain |									// PGA Gain
      ads1015_module.m_mode;									// ADC mode
}

/**************************************************************************/
/*!
    @brief  Reset a ADS1015
    @param  Device struct
*/
/**************************************************************************/
int ADS1015_reset(void){
//	uint8_t cmd = 0x06;
	ads1015_txBuff[0] = 0x06;

  return i2c_write_dt(&ads_i2c,ads1015_txBuff,1);
}

/**************************************************************************/
/*!
    @brief  Sets the gain and input voltage range
    @param gain gain setting to use
*/
/**************************************************************************/
void ADS1015_setGain(adsGain_t gain){
	ads1015_module.m_gain = gain;
}

/**************************************************************************/
/*!
    @brief  Gets a gain and input voltage range
    @return the gain setting
*/
/**************************************************************************/
adsGain_t ADS1015_getGain(){
	return ads1015_module.m_gain;
}

/**************************************************************************/
/*!
    @brief  Sets the Sampling rate
		@param  sps: sampling rate to use
*/
/**************************************************************************/
void ADS1015_setSPS(adsSPS_t sps){
	ads1015_module.m_samplingRate = sps;
}

/**************************************************************************/
/*!
    @brief  Gets the Sampling rate
    @return the sampling rate
*/
/**************************************************************************/
adsSPS_t ADS1015_getSPS(){
	return ads1015_module.m_samplingRate;
}

/**************************************************************************/
/*!
    @brief  Sets a ADC conversion mode setting
    @param  mode
*/
/**************************************************************************/
void ADS1015_setCONV(adsCONV_t mode){
	ads1015_module.m_mode = mode;
}

/**************************************************************************/
/*!
    @brief  Gets a ADC conversion mode setting
    @return the conversion setting
*/
/**************************************************************************/
adsCONV_t ADS1015_getCONV(){
	return ads1015_module.m_mode;
}

/**************************************************************************/
/*!
    @brief  Instantiates a new ADS1015 struct w/appropriate properties
    @param  Device struct
*/
/**************************************************************************/
int ADS1015_init(void)
{

  if (!device_is_ready(ads_i2c.bus)) {
        return -1;
  }

  int err = ADS1015_reset();
  if (err) return -1;

	// Start with default values
	ads1015_module.m_samplingRate = SPS_128;							// 128 samples per second (default)
	ads1015_module.m_mode 		= ADS1015_REG_CONFIG_MODE_SINGLE;	// Single-shot mode (default)
	ads1015_module.m_gain 		= GAIN_SIXTEEN;					// +/- 6.144V range (limited to VDD +0.3V max!)
	ads1015_module.m_compMode 	= CMODE_TRAD;						// Traditional comparator (default val)

  ads1015_module.config =
      ADS1015_REG_CONFIG_CQUE_NONE |    // Disable the comparator (default val)
      ADS1015_REG_CONFIG_CLAT_NONLAT |  // Non-latching (default val)
      ADS1015_REG_CONFIG_CPOL_ACTVLOW | // Alert/Rdy active low   (default val)
      ads1015_module.m_compMode |				// Comparator Mode
      ads1015_module.m_samplingRate |			// Sampling Rate
      ads1015_module.m_gain |					// PGA Gain
      ads1015_module.m_mode;					// ADC mode

	ads1015_module.m_conversionDelay = (uint8_t)ADS1015_CONVERSIONDELAY;

  return 0;
}


/**************************************************************************/
/*!
    @brief  Gets a single-ended ADC reading from the specified channel
    @param channel ADC channel to read
    @return the ADC reading
*/
/**************************************************************************/
float ADS1015_readADC(adc_Ch_t channel){
  if ((channel & ~ADS1015_REG_CONFIG_MUX_MASK) != 0) {
    return 0;
  }

  uint16_t config = get_adc_config();;
	config |= channel;
  config |= ADS1015_REG_CONFIG_OS_SINGLE;

	ads1015_module.config = config;

  // check ready flag
	uint16_t ret_val;
	do{
		ret_val = ADS1015_ReadRegister(ADS1015_REG_POINTER_CONFIG);
	}
	while( (ret_val & ADS1015_REG_CONFIG_OS_MASK) == ADS1015_REG_CONFIG_OS_BUSY);

  //write config... make sure its correct -> do readback
	do{
		ADS1015_WriteRegister(ADS1015_REG_POINTER_CONFIG, config);
		ret_val = ADS1015_ReadRegister(ADS1015_REG_POINTER_CONFIG);
	}while( (ret_val & ADS1015_REG_CONFIG_MUX_MASK) != (config & ADS1015_REG_CONFIG_MUX_MASK) );

	k_sleep(K_MSEC(ads1015_module.m_conversionDelay));

  // poll to see if conversion if finished 
	do{
		ret_val = ADS1015_ReadRegister(ADS1015_REG_POINTER_CONFIG);
	}
	while( (ret_val & ADS1015_REG_CONFIG_OS_MASK) == ADS1015_REG_CONFIG_OS_BUSY);


  // if sinigle ended takes abs() force positive else signed values
	if(channel>ADS1015_REG_CONFIG_MUX_DIFF_2_3)
		return (float)abs(ADS1015_ReadRegister(ADS1015_REG_POINTER_CONVERT)) * ads1015_module.m_lsbMultiplier;
	else
		return (float)ADS1015_ReadRegister(ADS1015_REG_POINTER_CONVERT) * ads1015_module.m_lsbMultiplier;
}

/**************************************************************************/
/*!
    @brief  Gets a single-ended ADC reading from the specified channel
    @param channel ADC channel to read
    @return the ADC reading
*/
/**************************************************************************/
int16_t ADS1015_readADC_raw( adc_Ch_t channel){


  // make sure nothing is set outside of MUX fields!!!
  if ((channel & ~ADS1015_REG_CONFIG_MUX_MASK) != 0) {
    return 0;
  }

  uint16_t config = get_adc_config();
	config |= channel;
  config |= ADS1015_REG_CONFIG_OS_SINGLE;

	ads1015_module.config = config;

  // check busy or ready flag
  // make sure its ready
	uint16_t ret_val = ADS1015_REG_CONFIG_OS_BUSY;
	do{
		ret_val = ADS1015_ReadRegister(ADS1015_REG_POINTER_CONFIG);
	}
	while( (ret_val & ADS1015_REG_CONFIG_OS_MASK) == ADS1015_REG_CONFIG_OS_BUSY);


	do{
		ADS1015_WriteRegister(ADS1015_REG_POINTER_CONFIG, config);
		ret_val = ADS1015_ReadRegister(ADS1015_REG_POINTER_CONFIG);
	}while( (ret_val & ADS1015_REG_CONFIG_MUX_MASK) != (config & ADS1015_REG_CONFIG_MUX_MASK) );


  k_sleep(K_MSEC(ads1015_module.m_conversionDelay));


	do{
		ret_val = ADS1015_ReadRegister(ADS1015_REG_POINTER_CONFIG);
	}
	while( (ret_val & ADS1015_REG_CONFIG_OS_MASK) == ADS1015_REG_CONFIG_OS_BUSY);

	return ADS1015_ReadRegister(ADS1015_REG_POINTER_CONVERT);
}

/**************************************************************************/
/*!
    @brief  Sets up the comparator to operate in basic mode, causing the
            ALERT/RDY pin to assert (go from high to low) when the ADC
            value exceeds the specified threshold.
            This will also set the ADC in continuous conversion mode.
    @param channel ADC channel to use
    @param threshold comparator threshold
*/
/**************************************************************************/
void ADS1015_startComparator_SingleEnded(uint8_t channel, int16_t threshold){
	// Start with default values
  uint16_t config =
      ADS1015_REG_CONFIG_CQUE_1CONV |   // Comparator enabled and asserts on 1 match
      ADS1015_REG_CONFIG_CLAT_LATCH |   // Latching mode
      ADS1015_REG_CONFIG_CPOL_ACTVLOW | // Alert/Rdy active low   (default val)
      ads1015_module.m_compMode |							// Comparator Mode
      ads1015_module.m_samplingRate |					// Sampling Rate
			ads1015_module.m_gain |									// ADC gain setting
      ADS1015_REG_CONFIG_MODE_CONTIN;   // Continuous conversion mode

  // Set single-ended input channel
  switch (channel) {
  case (0):
    config |= ADS1015_REG_CONFIG_MUX_SINGLE_0;
    break;
  case (1):
    config |= ADS1015_REG_CONFIG_MUX_SINGLE_1;
    break;
  case (2):
    config |= ADS1015_REG_CONFIG_MUX_SINGLE_2;
    break;
  case (3):
    config |= ADS1015_REG_CONFIG_MUX_SINGLE_3;
    break;
  }

	ads1015_module.config = config;

  // Set the high threshold register
	ADS1015_WriteRegister(ADS1015_REG_POINTER_HITHRESH, threshold);

  // Write config register to the ADC
  ADS1015_WriteRegister(ADS1015_REG_POINTER_CONFIG, config);
}

/**************************************************************************/
/*!
    @brief  In order to clear the comparator, we need to read the
            conversion results.  This function reads the last conversion
            results without changing the config value.
    @return the last ADC reading
*/
/**************************************************************************/
float ADS1015_getLastConversionResults(void){
	uint16_t ret_val = ADS1015_REG_CONFIG_OS_BUSY;
  // Wait for the conversion to complete
  k_sleep(K_MSEC(ads1015_module.m_conversionDelay));
	do{
		ret_val = ADS1015_ReadRegister(ADS1015_REG_POINTER_CONFIG);
	}
	while( (ret_val & ADS1015_REG_CONFIG_OS_MASK) == ADS1015_REG_CONFIG_OS_BUSY);

  // Read the conversion results
	return (float)ADS1015_ReadRegister(ADS1015_REG_POINTER_CONVERT) * ads1015_module.m_lsbMultiplier;
}

/************************************************************************/
// Pyranometer (SP-610-SS)
// 

// 
void get_sp610_pyranometer(struct pyranometer_ADS_sample *p)
{
  //sensor output is 0 to 70mv
  // set gain to 16
  //AIN0 (pos) /AIN1 (neg)
  int16_t counts;

  ADS1015_setGain(GAIN_SIXTEEN);

  // read register then shift right 4 bits - ads1015 only
  // ads1015 stores conversion as two bit complement
  counts = ADS1015_readADC_raw(ADS1015_REG_CONFIG_MUX_DIFF_0_1) >> 4;
  if (counts > 0x07FF) {
    // if we have negative number extend the sign to the 16th bit. 
    counts |= 0xF000;
  } 
  float v_signal = (float)counts * ads1015_module.m_lsbMultiplier;
  float mv_signal = v_signal * 1000.0f; 

  float calibrated_radiation = (float)mv_signal  * 26.72f;//CALIBRATION CONSTANT FROM CERTIFICATE sn 1665

  if (calibrated_radiation < 0) {
    calibrated_radiation = 0;
  }

  // convert sensor output to shortwave radiation in w/m^2
  p->shortwave_radiation = calibrated_radiation;
  
}


// Pyrgeometer (SL-610-SS)
//output is +/- 23mV
//set gain to 16x gain  +/- 0.256V  1 bit = 0.0078125mV
void get_sl610_thermopile(struct pyrgeometer_ADS_sample *p) {
  //AIN2 (pos) /AIN3 (neg)
  int16_t counts;
  ADS1015_setGain(GAIN_SIXTEEN);

  counts = ADS1015_readADC_raw(ADS1015_REG_CONFIG_MUX_DIFF_2_3) >> 4;
  if (counts > 0x07FF) {
    // if we have negative number extend the sign to the 16th bit. 
    counts |= 0xF000;
  }

  
  float signal_thermopile = (float)counts * ads1015_module.m_lsbMultiplier; // convert to volts
  float mv_signal = signal_thermopile * 1000.0f;  // convert to mV

  p->thermopile_signal_mv_diff = mv_signal;
}
```

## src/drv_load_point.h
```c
#ifndef LOAD_POINT_H
#define LOAD_POINT_H

#include <stddef.h>
#include <stdint.h>

struct load_sample 
{
    int32_t integer;
    int32_t fractional;
    int32_t weight_mg;
};

int hx711_probe_init(void);
void measure(struct load_sample *labs);
void calibrate(void);
#endif
```

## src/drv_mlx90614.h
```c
#pragma once
#include <zephyr/device.h>
#include <stdint.h>

#define MLX90614_ADDR 0x5A  

struct mlx90614_sample {
    float amb_c;
    float obj_c;
};

int mlx90614_init(void);
int mlx90614_read(struct mlx90614_sample *out);
```
